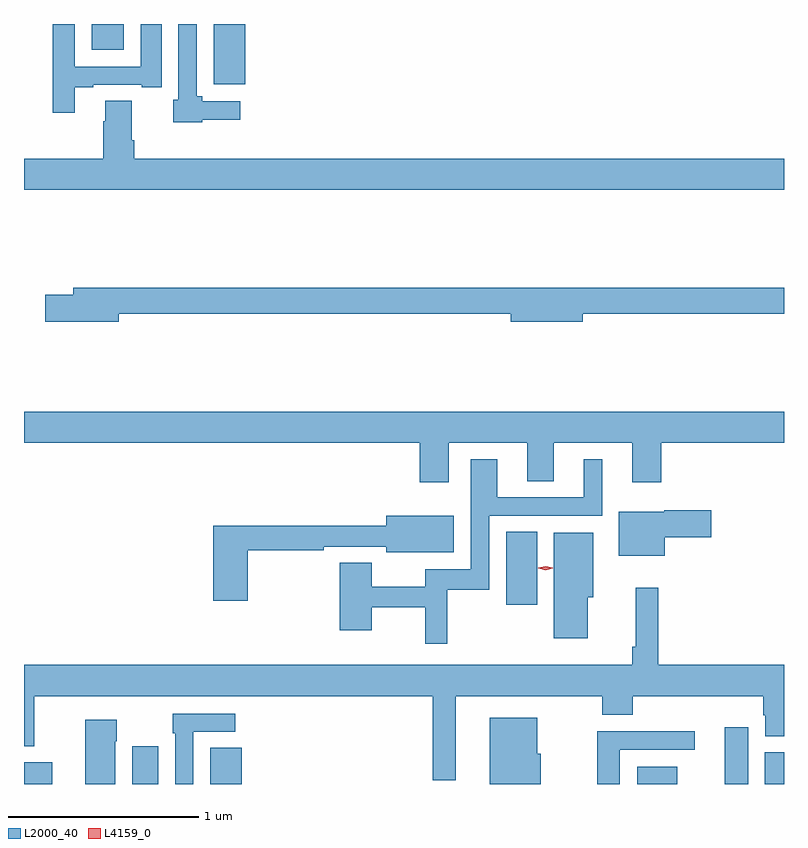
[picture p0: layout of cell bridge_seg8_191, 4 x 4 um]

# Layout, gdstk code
import gdstk
lib = gdstk.Library(unit=1e-6, precision=1e-09)
def R(c, l, rs):  # rectangles x0, y0, x1, y1
    for r in rs: c.add(gdstk.rectangle(r[:2], r[2:], *l))
def P(c, l, *ps):  # polygons
    for p in ps: c.add(gdstk.Polygon(p, *l))
L2000_40 = (2000, 40)
L4159_0 = (4159, 0)

bridge_seg8_191 = lib.new_cell('bridge_seg8_191')
R(bridge_seg8_191, L2000_40, [(264.459,1113.373,264.607,1113.487), (265.028,1113.373,265.165,1113.571), (265.439,1113.373,265.606,1113.563), (267.686,1113.373,267.898,1113.463), (268.148,1113.373,268.27,1113.673), (268.358,1113.373,268.459,1113.54), (266.996,1114.316,267.16,1114.7), (265.457,1117.055,265.624,1117.373), (264.815,1117.238,264.985,1117.373)])
P(bridge_seg8_191, L2000_40, [(265.398,1116.869),(265.597,1116.869),(265.597,1116.966),(265.398,1116.966),(265.398,1116.994),(265.368,1116.994),(265.368,1117.373),(265.272,1117.373),(265.272,1116.975),(265.244,1116.975),(265.244,1116.857),(265.398,1116.857)],
  [(264.727,1117.041),(264.823,1117.041),(264.823,1117.053),(265.079,1117.053),(265.079,1117.041),(265.183,1117.041),(265.183,1117.373),(265.073,1117.373),(265.073,1117.149),(264.726,1117.149),(264.726,1117.373),(264.61,1117.373),(264.61,1116.906),(264.727,1116.906)],
  [(268.459,1116.664),(265.04,1116.664),(265.04,1116.76),(265.027,1116.76),(265.027,1116.968),(264.887,1116.968),(264.887,1116.86),(264.875,1116.86),(264.875,1116.664),(264.459,1116.664),(264.459,1116.5),(268.459,1116.5)],
  [(264.958,1115.848),(267.02,1115.848),(267.02,1115.806),(267.4,1115.806),(267.4,1115.848),(268.459,1115.848),(268.459,1115.984),(264.719,1115.984),(264.719,1115.948),(264.57,1115.948),(264.57,1115.806),(264.958,1115.806)],
  [(266.695,1115.168),(267.107,1115.168),(267.107,1114.966),(267.247,1114.966),(267.247,1115.168),(267.659,1115.168),(267.659,1114.962),(267.812,1114.962),(267.812,1115.168),(268.459,1115.168),(268.459,1115.332),(264.459,1115.332),(264.459,1115.168),(266.543,1115.168),(266.543,1114.962),(266.695,1114.962)],
  [(266.686,1114.395),(266.907,1114.395),(266.907,1114.785),(267.502,1114.785),(267.502,1115.083),(267.404,1115.083),(267.404,1114.881),(266.95,1114.881),(266.95,1115.083),(266.811,1115.083),(266.811,1114.503),(266.572,1114.503),(266.572,1114.412),(266.29,1114.412),(266.29,1114.538),(266.12,1114.538),(266.12,1114.182),(266.29,1114.182),(266.29,1114.302),(266.572,1114.302),(266.572,1114.11),(266.686,1114.11)],
  [(267.832,1114.673),(268.075,1114.673),(268.075,1114.815),(267.828,1114.815),(267.828,1114.807),(267.59,1114.807),(267.59,1114.574),(267.832,1114.574)],
  [(265.637,1114.603),(266.036,1114.603),(266.036,1114.623),(266.366,1114.623),(266.366,1114.592),(266.722,1114.592),(266.722,1114.786),(266.366,1114.786),(266.366,1114.732),(265.454,1114.732),(265.454,1114.338),(265.637,1114.338)],
  [(267.427,1114.356),(267.454,1114.356),(267.454,1114.696),(267.248,1114.696),(267.248,1114.139),(267.427,1114.139)],
  [(266.731,1113.836),(267.502,1113.836),(267.502,1113.737),(267.662,1113.737),(267.662,1113.836),(268.349,1113.836),(268.349,1113.735),(268.361,1113.735),(268.361,1113.625),(268.459,1113.625),(268.459,1114),(267.797,1114),(267.797,1114.405),(267.679,1114.405),(267.679,1114.096),(267.661,1114.096),(267.661,1114),(264.459,1114),(264.459,1113.573),(264.512,1113.573),(264.512,1113.836),(266.61,1113.836),(266.61,1113.392),(266.731,1113.392)],
  [(265.35,1113.648),(265.57,1113.648),(265.57,1113.744),(265.242,1113.744),(265.242,1113.641),(265.254,1113.641),(265.254,1113.373),(265.35,1113.373)],
  [(267.178,1113.531),(267.16,1113.531),(267.16,1113.721),(266.909,1113.721),(266.909,1113.373),(267.178,1113.373)],
  [(264.94,1113.599),(264.948,1113.599),(264.948,1113.712),(264.782,1113.712),(264.782,1113.373),(264.94,1113.373)],
  [(267.595,1113.552),(267.988,1113.552),(267.988,1113.65),(267.475,1113.65),(267.475,1113.373),(267.595,1113.373)])
P(bridge_seg8_191, L4159_0, [(267.204,1114.499),(267.165,1114.509),(267.165,1114.509),(267.165,1114.51),(267.204,1114.519),(267.242,1114.51),(267.243,1114.509),(267.242,1114.509)])

lib.write_gds('bridge_seg8_191.gds')
